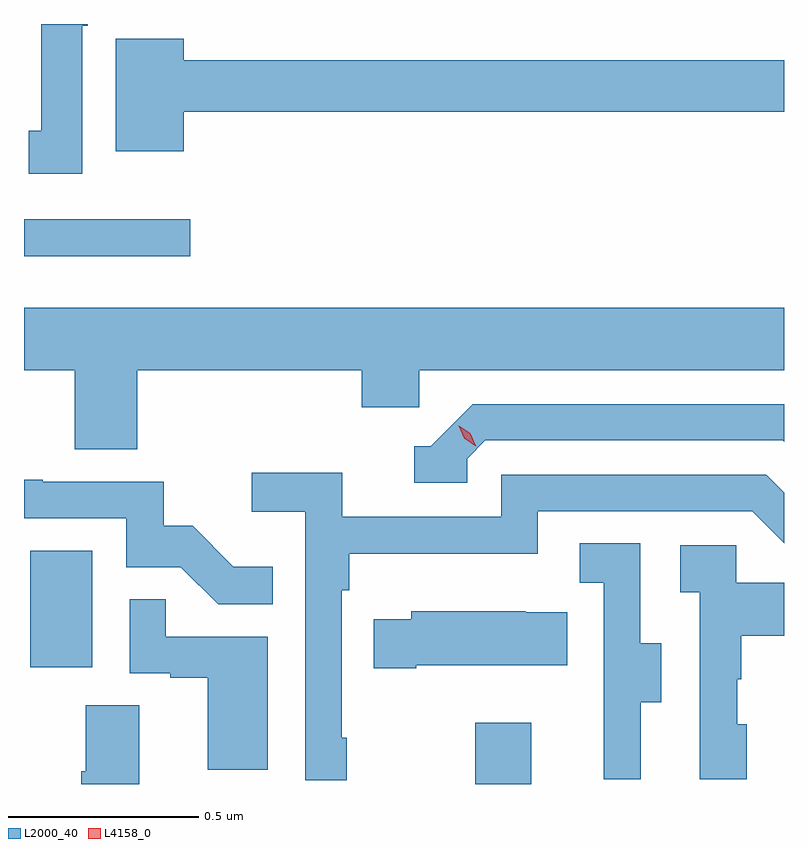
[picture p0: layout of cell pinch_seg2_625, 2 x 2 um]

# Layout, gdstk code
import gdstk
lib = gdstk.Library(unit=1e-6, precision=1e-09)
def R(c, l, rs):  # rectangles x0, y0, x1, y1
    for r in rs: c.add(gdstk.rectangle(r[:2], r[2:], *l))
def P(c, l, *ps):  # polygons
    for p in ps: c.add(gdstk.Polygon(p, *l))
L2000_40 = (2000, 40)
L4158_0 = (4158, 0)

pinch_seg2_625 = lib.new_cell('pinch_seg2_625')
R(pinch_seg2_625, L2000_40, [(1032.292,606.587,1032.439,606.748), (1031.12,606.894,1031.284,607.201), (1031.104,607.976,1031.542,608.073)])
P(pinch_seg2_625, L2000_40, [(1031.257,608.582),(1031.272,608.582),(1031.272,608.587),(1031.15,608.587),(1031.15,608.306),(1031.117,608.306),(1031.117,608.193),(1031.257,608.193)],
  [(1031.524,608.356),(1033.104,608.356),(1033.104,608.492),(1031.524,608.492),(1031.524,608.548),(1031.345,608.548),(1031.345,608.252),(1031.524,608.252)],
  [(1031.402,607.676),(1031.993,607.676),(1031.993,607.578),(1032.144,607.578),(1032.144,607.676),(1033.104,607.676),(1033.104,607.84),(1031.104,607.84),(1031.104,607.676),(1031.237,607.676),(1031.237,607.468),(1031.402,607.468)],
  [(1032.27,607.443),(1032.318,607.491),(1033.101,607.491),(1033.104,607.488),(1033.104,607.587),(1032.285,607.587),(1032.174,607.476),(1032.131,607.476),(1032.131,607.38),(1032.27,607.38)],
  [(1031.953,606.709),(1031.94,606.709),(1031.94,607.097),(1031.96,607.097),(1031.96,607.193),(1032.456,607.193),(1032.456,607.305),(1033.02,607.305),(1033.104,607.221),(1033.104,607.354),(1033.057,607.401),(1032.36,607.401),(1032.36,607.29),(1031.942,607.29),(1031.942,607.406),(1031.703,607.406),(1031.703,607.304),(1031.844,607.304),(1031.844,606.597),(1031.953,606.597)],
  [(1031.759,607.159),(1031.655,607.159),(1031.548,607.266),(1031.472,607.266),(1031.472,607.383),(1031.153,607.383),(1031.153,607.388),(1031.104,607.388),(1031.104,607.287),(1031.373,607.287),(1031.373,607.158),(1031.517,607.158),(1031.615,607.06),(1031.759,607.06)],
  [(1032.727,606.802),(1032.781,606.802),(1032.781,606.957),(1032.726,606.957),(1032.726,607.22),(1032.567,607.22),(1032.567,607.117),(1032.63,607.117),(1032.63,606.813),(1032.629,606.813),(1032.629,606.6),(1032.727,606.6)],
  [(1033.006,606.744),(1032.981,606.744),(1032.981,606.863),(1032.991,606.863),(1032.991,606.977),(1033.104,606.977),(1033.104,607.117),(1032.978,607.117),(1032.978,607.215),(1032.831,607.215),(1032.831,607.091),(1032.882,607.091),(1032.882,606.6),(1033.006,606.6)],
  [(1031.746,606.975),(1031.477,606.975),(1031.477,607.073),(1031.382,607.073),(1031.382,606.879),(1031.489,606.879),(1031.489,606.867),(1031.588,606.867),(1031.588,606.624),(1031.746,606.624)],
  [(1032.136,606.899),(1032.533,606.899),(1032.533,607.039),(1032.425,607.039),(1032.425,607.042),(1032.123,607.042),(1032.123,607.021),(1032.025,607.021),(1032.025,606.892),(1032.136,606.892)],
  [(1031.407,606.794),(1031.267,606.794),(1031.267,606.62),(1031.255,606.62),(1031.255,606.587),(1031.407,606.587)])
P(pinch_seg2_625, L4158_0, [(1032.293,607.476),(1032.263,607.497),(1032.248,607.53),(1032.248,607.53),(1032.248,607.53),(1032.278,607.51),(1032.293,607.477),(1032.293,607.476)])

lib.write_gds('pinch_seg2_625.gds')
